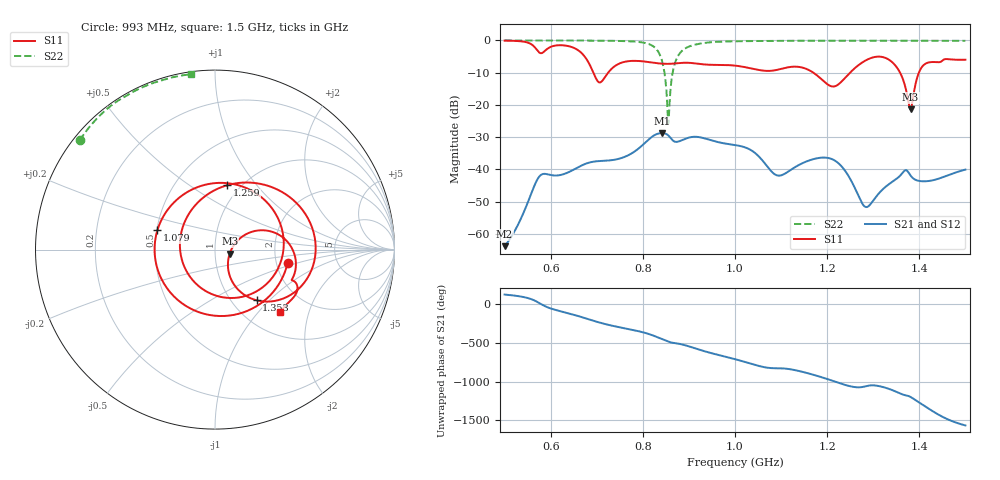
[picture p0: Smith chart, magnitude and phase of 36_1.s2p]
! TOUCHSTONE file generated by CST MICROWAVE STUDIO
! Date and time: Sat Nov 14 20:43:14 2020
! Project name: Scenario_1_Planar_Body_Tissue_Out_of_Line_v2.cst
! Parameters = {dy1=-259.5; L_HA=400; Ltissue=700; MT=2.54; Rad_Dielectric=30; Rad_Lower=7.3; Rad_Upper=30; Wtissue=700; a_HA=580; a_WG=246; b_HA=500; b_WG=121; c_HA=0; c_WG=187; d_feed=85; dx1=173; h_feed=15; h_lower=18; h_upper=40; hfat=3; hgap=25; hmuscle=50; hskin=1.5}
! Header version: 2018
! Port assignment regex: !\s*Touchstone port\s*([0-9]+)\s*=\s*(CST MWS port|CST DS port)\s*([0-9]+|Zmin|Zmax)\s*\(\"(.*)\"\)(\s*mode\s*([0-9]+))?.*
! Touchstone port assignment:
! Touchstone port 1 = CST MWS port 1 ("")
! Touchstone port 2 = CST MWS port 2 ("")
# GHz S DB R 50
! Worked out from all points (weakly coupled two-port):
!   1003 points, 500 MHz to 1.5 GHz, reference 50 ohm
!   highest |S21| = -28.76 dB at 841 MHz (marker M1); lowest = -63.8 dB at 500 MHz (marker M2)
!   lowest |S11| = -21.4 dB at 1.381 GHz (marker M3), VSWR 1.19, Z = 58.8 - j2.73 ohm
!   |S11| at or under -10 dB: 692.6 MHz to 724.7 MHz (32.12 MHz wide, 4.53 % of centre); 1.17 GHz to 1.25 GHz (79.74 MHz wide, 6.59 % of centre); 1.358 GHz to 1.399 GHz (40.8 MHz wide, 2.96 % of centre)
!   |S22| runs from -25.8 to 0.0 dB; largest |S21 - S12| = 1.4e-06
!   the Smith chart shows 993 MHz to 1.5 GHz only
!   S11 on the Smith chart (normalised r, x): 993 MHz: 2.30, -0.42; 1.079 GHz: 0.50, +0.12; 1.259 GHz: 0.87, +0.72; 1.353 GHz: 1.29, -0.84; 1.5 GHz: 1.41, -1.31
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0.5  -0.06 -121.8  -63.82 124.0  -63.82 124.0  -0.01 151.1
0.575  -3.73 -161.7  -42.27 14.9  -42.27 14.9  -0.02 146.0
0.624  -1.49 175.9  -41.66 -95.9  -41.66 -95.9  -0.03 142.2
0.667  -3.91 111.6  -38.81 -166.6  -38.81 -166.6  -0.04 138.4
0.694  -10.45 30.9  -37.58 143.2  -37.58 143.2  -0.06 135.5
0.721  -10.73 -104.9  -37.30 99.0  -37.30 99.0  -0.10 132.1
0.766  -6.48 157.3  -35.78 41.6  -35.78 41.6  -0.24 124.0
0.834  -7.11 23.4  -28.88 -72.2  -28.88 -72.2  -3.63 80.0
0.841  -7.20 5.9  -28.76 -88.8  -28.76 -88.8  -6.05 66.2
0.856  -7.26 -34.2  -29.57 -124.7  -29.57 -124.7  -25.24 -76.9
0.905  -6.99 -179.2  -29.98 166.0  -29.98 166.0  -1.64 163.7
0.942  -7.53 87.8  -30.72 98.3  -30.72 98.3  -0.64 150.9
0.993  -7.72 -10.5  -32.30 20.8  -32.30 20.8  -0.28 141.0
1  -7.81 -23.1  -32.45 9.9  -32.45 9.9  -0.26 140.1
1.079  -9.41 161.3  -40.62 -105.7  -40.62 -105.7  -0.14 131.6
1.167  -9.73 -46.3  -36.95 173.8  -36.95 173.8  -0.09 124.1
1.259  -8.74 79.0  -45.46 10.1  -45.46 10.1  -0.08 117.2
1.334  -5.97 -28.2  -44.60 -13.6  -44.60 -13.6  -0.08 111.5
1.353  -8.73 -50.6  -42.66 -58.9  -42.66 -58.9  -0.09 110.0
1.381  -21.42 -15.7  -41.91 -118.2  -41.91 -118.2  -0.10 107.8
1.411  -7.45 2.1  -43.70 126.7  -43.70 126.7  -0.10 105.5
1.5  -5.99 -44.2  -40.07 -125.8  -40.07 -125.8  -0.13 97.9
